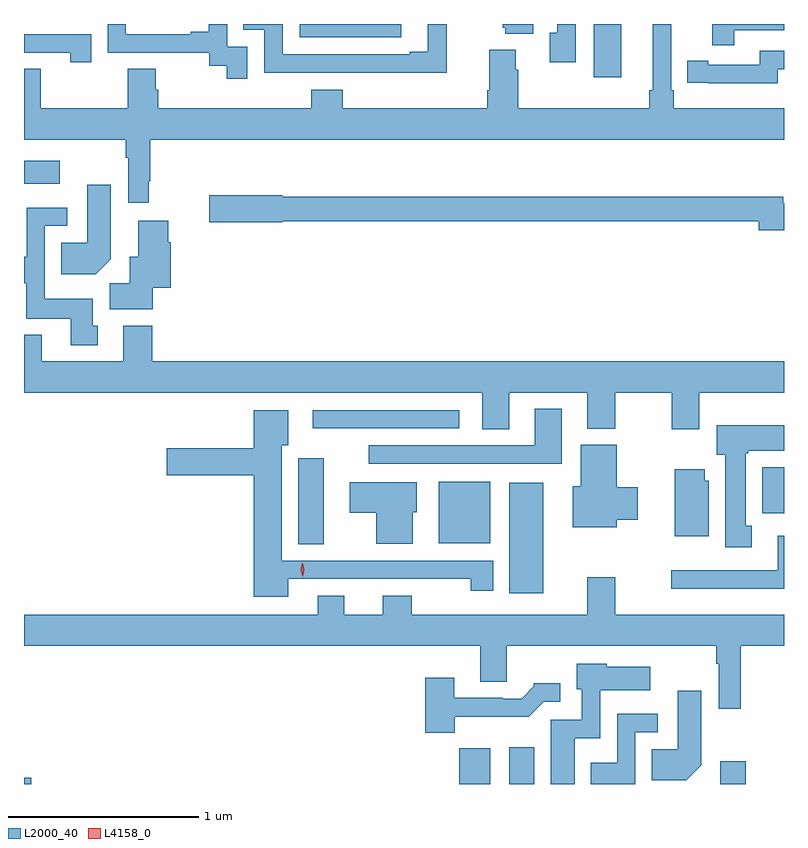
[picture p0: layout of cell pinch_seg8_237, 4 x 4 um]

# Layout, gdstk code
import gdstk
lib = gdstk.Library(unit=1e-6, precision=1e-09)
def R(c, l, rs):  # rectangles x0, y0, x1, y1
    for r in rs: c.add(gdstk.rectangle(r[:2], r[2:], *l))
def P(c, l, *ps):  # polygons
    for p in ps: c.add(gdstk.Polygon(p, *l))
L2000_40 = (2000, 40)
L4158_0 = (4158, 0)

pinch_seg8_237 = lib.new_cell('pinch_seg8_237')
R(pinch_seg8_237, L2000_40, [(676.072,1091.796,676.111,1091.828), (678.364,1091.796,678.526,1091.983), (678.626,1091.796,678.757,1091.989), (679.736,1091.796,679.871,1091.917), (678.626,1092.8,678.805,1093.381), (677.516,1093.057,677.65,1093.51), (678.254,1093.064,678.526,1093.387), (679.958,1093.22,680.072,1093.462), (677.592,1093.668,678.364,1093.764), (676.072,1094.954,676.261,1095.076), (679.07,1095.516,679.216,1095.796), (677.523,1095.726,678.058,1095.796)])
P(pinch_seg8_237, L2000_40, [(677.247,1095.675),(677.142,1095.675),(677.142,1095.796),(677.045,1095.796),(677.045,1095.754),(676.949,1095.754),(676.949,1095.741),(676.608,1095.741),(676.608,1095.796),(676.512,1095.796),(676.512,1095.645),(677.046,1095.645),(677.046,1095.577),(677.139,1095.577),(677.139,1095.507),(677.247,1095.507)],
  [(678.975,1095.796),(678.879,1095.796),(678.879,1095.75),(678.839,1095.75),(678.839,1095.594),(678.975,1095.594)],
  [(676.729,1094.968),(676.736,1094.968),(676.736,1095.188),(680.072,1095.188),(680.072,1095.352),(679.493,1095.352),(679.493,1095.448),(679.479,1095.448),(679.479,1095.796),(679.382,1095.796),(679.382,1095.448),(679.363,1095.448),(679.363,1095.352),(678.674,1095.352),(678.674,1095.554),(678.661,1095.554),(678.661,1095.661),(678.521,1095.661),(678.521,1095.448),(678.509,1095.448),(678.509,1095.352),(677.75,1095.352),(677.75,1095.451),(677.585,1095.451),(677.585,1095.352),(676.778,1095.352),(676.778,1095.45),(676.765,1095.45),(676.765,1095.56),(676.618,1095.56),(676.618,1095.352),(676.161,1095.352),(676.161,1095.56),(676.072,1095.56),(676.072,1095.188),(676.608,1095.188),(676.608,1095.092),(676.62,1095.092),(676.62,1094.856),(676.729,1094.856)],
  [(678.751,1095.796),(678.593,1095.796),(678.593,1095.777),(678.605,1095.777),(678.605,1095.746),(678.751,1095.746)],
  [(678.297,1095.796),(678.198,1095.796),(678.198,1095.649),(678.101,1095.649),(678.101,1095.636),(677.433,1095.636),(677.433,1095.796),(677.227,1095.796),(677.227,1095.765),(677.337,1095.765),(677.337,1095.54),(677.833,1095.54),(677.833,1095.539),(678.297,1095.539)],
  [(679.811,1095.762),(680.072,1095.762),(680.072,1095.796),(679.694,1095.796),(679.694,1095.684),(679.811,1095.684)],
  [(676.427,1095.741),(676.072,1095.741),(676.072,1095.645),(676.316,1095.645),(676.316,1095.594),(676.427,1095.594)],
  [(680.04,1095.558),(680.072,1095.558),(680.072,1095.654),(679.944,1095.654),(679.944,1095.582),(679.672,1095.582),(679.672,1095.602),(679.564,1095.602),(679.564,1095.486),(679.672,1095.486),(679.672,1095.485),(680.04,1095.485)],
  [(676.528,1094.558),(676.528,1094.95),(676.406,1094.95),(676.406,1094.644),(676.267,1094.644),(676.267,1094.48),(676.45,1094.48)],
  [(680.072,1094.853),(680.068,1094.853),(680.068,1094.887),(677.43,1094.887),(677.43,1094.895),(677.046,1094.895),(677.046,1094.753),(677.43,1094.753),(677.43,1094.758),(679.94,1094.758),(679.94,1094.711),(680.072,1094.711)],
  [(676.459,1094.208),(676.435,1094.208),(676.435,1094.35),(676.182,1094.35),(676.182,1094.733),(676.3,1094.733),(676.3,1094.829),(676.086,1094.829),(676.086,1094.572),(676.072,1094.572),(676.072,1094.432),(676.084,1094.432),(676.084,1094.246),(676.319,1094.246),(676.319,1094.106),(676.459,1094.106)],
  [(676.75,1094.408),(676.844,1094.408),(676.844,1094.648),(676.831,1094.648),(676.831,1094.761),(676.673,1094.761),(676.673,1094.572),(676.628,1094.572),(676.628,1094.432),(676.523,1094.432),(676.523,1094.294),(676.75,1094.294)],
  [(679.627,1093.856),(680.072,1093.856),(680.072,1094.02),(676.748,1094.02),(676.748,1094.209),(676.595,1094.209),(676.595,1094.02),(676.165,1094.02),(676.165,1094.161),(676.072,1094.161),(676.072,1093.856),(678.485,1093.856),(678.485,1093.663),(678.625,1093.663),(678.625,1093.856),(679.037,1093.856),(679.037,1093.667),(679.185,1093.667),(679.185,1093.856),(679.48,1093.856),(679.48,1093.662),(679.627,1093.662)],
  [(678.901,1093.771),(678.761,1093.771),(678.761,1093.578),(677.886,1093.578),(677.886,1093.482),(678.901,1093.482)],
  [(677.464,1092.876),(678.196,1092.876),(678.196,1092.875),(678.424,1092.875),(678.424,1092.813),(678.541,1092.813),(678.541,1092.972),(677.428,1092.972),(677.428,1093.58),(677.464,1093.58),(677.464,1093.762),(677.282,1093.762),(677.282,1093.563),(676.824,1093.563),(676.824,1093.421),(677.282,1093.421),(677.282,1092.782),(677.464,1092.782)],
  [(679.903,1093.154),(679.87,1093.154),(679.87,1093.537),(679.884,1093.537),(679.884,1093.55),(680.072,1093.55),(680.072,1093.684),(679.718,1093.684),(679.718,1093.53),(679.763,1093.53),(679.763,1093.041),(679.903,1093.041)],
  [(679.192,1093.186),(679.303,1093.186),(679.303,1093.359),(679.192,1093.359),(679.192,1093.582),(679.001,1093.582),(679.001,1093.364),(678.959,1093.364),(678.959,1093.148),(679.192,1093.148)],
  [(679.675,1093.392),(679.654,1093.392),(679.654,1093.453),(679.496,1093.453),(679.496,1093.1),(679.675,1093.1)],
  [(678.118,1093.227),(678.139,1093.227),(678.139,1093.384),(677.787,1093.384),(677.787,1093.223),(677.927,1093.223),(677.927,1093.061),(678.118,1093.061)],
  [(680.072,1093.102),(680.039,1093.102),(680.039,1092.921),(679.479,1092.921),(679.479,1092.824),(680.072,1092.824)],
  [(679.844,1092.524),(680.072,1092.524),(680.072,1092.688),(679.185,1092.688),(679.185,1092.883),(679.037,1092.883),(679.037,1092.688),(678.113,1092.688),(678.113,1092.787),(677.96,1092.787),(677.96,1092.688),(677.758,1092.688),(677.758,1092.787),(677.618,1092.787),(677.618,1092.688),(676.072,1092.688),(676.072,1092.524),(678.473,1092.524),(678.473,1092.334),(678.613,1092.334),(678.613,1092.524),(679.716,1092.524),(679.716,1092.428),(679.728,1092.428),(679.728,1092.192),(679.844,1092.192)],
  [(678.97,1092.038),(679.104,1092.038),(679.104,1092.29),(679.369,1092.29),(679.369,1092.412),(679.14,1092.412),(679.14,1092.43),(678.98,1092.43),(678.98,1092.294),(679.008,1092.294),(679.008,1092.135),(678.845,1092.135),(678.845,1091.796),(678.97,1091.796)],
  [(678.34,1092.15),(678.729,1092.15),(678.807,1092.228),(678.895,1092.228),(678.895,1092.325),(678.756,1092.325),(678.756,1092.31),(678.692,1092.246),(678.593,1092.246),(678.593,1092.249),(678.337,1092.249),(678.337,1092.355),(678.185,1092.355),(678.185,1092.065),(678.34,1092.065)],
  [(679.636,1091.894),(679.636,1092.286),(679.514,1092.286),(679.514,1091.98),(679.375,1091.98),(679.375,1091.816),(679.558,1091.816)],
  [(679.29,1092.069),(679.408,1092.069),(679.408,1092.165),(679.194,1092.165),(679.194,1091.908),(679.055,1091.908),(679.055,1091.796),(679.29,1091.796)])
P(pinch_seg8_237, L4158_0, [(677.538,1092.887),(677.528,1092.923),(677.537,1092.959),(677.537,1092.959),(677.538,1092.959),(677.548,1092.923),(677.539,1092.887),(677.539,1092.887)])

lib.write_gds('pinch_seg8_237.gds')
